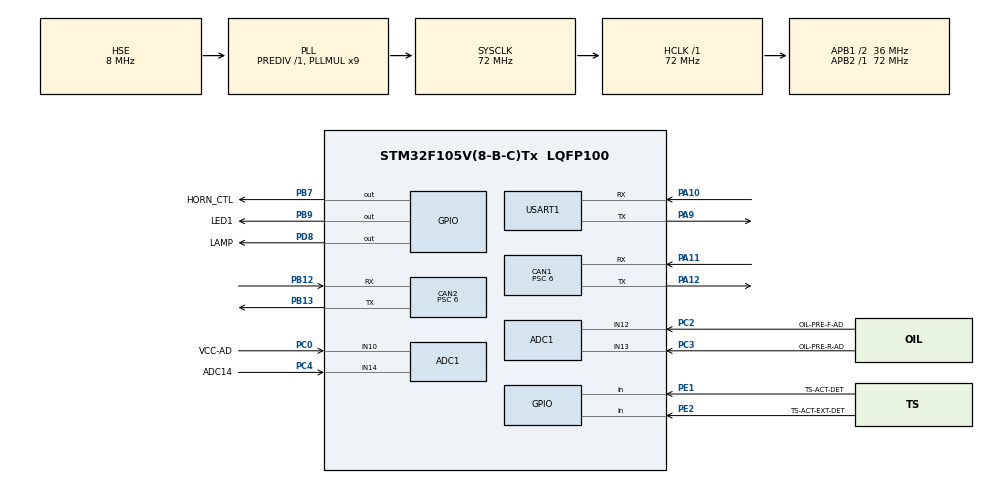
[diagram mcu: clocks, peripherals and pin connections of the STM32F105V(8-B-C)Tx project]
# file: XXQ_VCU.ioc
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ADC1.Channel-0\#ChannelRegularConversion=ADC_CHANNEL_10
ADC1.Channel-1\#ChannelRegularConversion=ADC_CHANNEL_12
ADC1.Channel-2\#ChannelRegularConversion=ADC_CHANNEL_13
ADC1.Channel-3\#ChannelRegularConversion=ADC_CHANNEL_14
ADC1.ContinuousConvMode=ENABLE
ADC1.NbrOfConversion=4
ADC1.NbrOfConversionFlag=1
ADC1.Rank-0\#ChannelRegularConversion=1
ADC1.Rank-1\#ChannelRegularConversion=2
ADC1.Rank-2\#ChannelRegularConversion=3
ADC1.Rank-3\#ChannelRegularConversion=4
ADC1.SamplingTime-0\#ChannelRegularConversion=ADC_SAMPLETIME_28CYCLES_5
ADC1.SamplingTime-1\#ChannelRegularConversion=ADC_SAMPLETIME_28CYCLES_5
ADC1.SamplingTime-2\#ChannelRegularConversion=ADC_SAMPLETIME_28CYCLES_5
ADC1.SamplingTime-3\#ChannelRegularConversion=ADC_SAMPLETIME_28CYCLES_5
ADC1.master=1
CAN1.ABOM=ENABLE
CAN1.AWUM=ENABLE
CAN1.BS1=CAN_BS1_8TQ
CAN1.BS2=CAN_BS2_3TQ
CAN1.CalculateBaudRate=499999
CAN1.CalculateTimeBit=2000
CAN1.CalculateTimeQuantum=166.66666666666669
CAN1.Mode=CAN_MODE_NORMAL
CAN1.Prescaler=6
CAN2.ABOM=ENABLE
CAN2.AWUM=ENABLE
CAN2.BS1=CAN_BS1_8TQ
CAN2.BS2=CAN_BS2_3TQ
CAN2.CalculateBaudRate=499999
CAN2.CalculateTimeBit=2000
CAN2.CalculateTimeQuantum=166.66666666666669
CAN2.Mode=CAN_MODE_NORMAL
CAN2.Prescaler=6
Dma.ADC1.0.Direction=DMA_PERIPH_TO_MEMORY
Dma.ADC1.0.Instance=DMA1_Channel1
Dma.ADC1.0.MemDataAlignment=DMA_MDATAALIGN_HALFWORD
Dma.ADC1.0.MemInc=DMA_MINC_ENABLE
Dma.ADC1.0.Mode=DMA_CIRCULAR
Dma.ADC1.0.PeriphDataAlignment=DMA_PDATAALIGN_HALFWORD
Dma.ADC1.0.PeriphInc=DMA_PINC_DISABLE
Dma.ADC1.0.Priority=DMA_PRIORITY_LOW
Dma.Request0=ADC1
Mcu.Family=STM32F1
Mcu.Name=STM32F105V(8-B-C)Tx
Mcu.Package=LQFP100
Mcu.UserConstants=TIM_PSC,7200-1;TIM_ARR,10-1
NVIC.CAN1_RX0_IRQn=true\:1\:0\:true\:false\:true\:true\:true\:true
NVIC.CAN1_TX_IRQn=true\:0\:0\:true\:false\:true\:true\:true\:true
NVIC.CAN2_RX0_IRQn=true\:1\:0\:true\:false\:true\:true\:true\:true
NVIC.CAN2_TX_IRQn=true\:0\:0\:false\:false\:true\:true\:true\:true
NVIC.DMA1_Channel1_IRQn=true\:0\:0\:false\:false\:true\:false\:true\:true
NVIC.PriorityGroup=NVIC_PRIORITYGROUP_4
NVIC.TIM3_IRQn=true\:3\:0\:true\:false\:true\:true\:true\:true
NVIC.USART1_IRQn=true\:15\:0\:true\:false\:true\:true\:true\:true
OSC_IN.Mode=HSE-External-Oscillator
OSC_IN.Signal=RCC_OSC_IN
OSC_OUT.Mode=HSE-External-Oscillator
OSC_OUT.Signal=RCC_OSC_OUT
PA10.Mode=Asynchronous
PA10.Signal=USART1_RX
PA11.Mode=CAN_Activate
PA11.Signal=CAN1_RX
PA12.Mode=CAN_Activate
PA12.Signal=CAN1_TX
PA13.Mode=Serial_Wire
PA13.Signal=SYS_JTMS-SWDIO
PA14.Mode=Serial_Wire
PA14.Signal=SYS_JTCK-SWCLK
PA9.Mode=Asynchronous
PA9.Signal=USART1_TX
PB12.Mode=CAN_Activate
PB12.Signal=CAN2_RX
PB13.Mode=CAN_Activate
PB13.Signal=CAN2_TX
PB7.GPIO_Label=HORN_CTL
PB7.Signal=GPIO_Output
PB9.GPIO_Label=LED1
PB9.PinState=GPIO_PIN_SET
PB9.Signal=GPIO_Output
PC0.GPIO_Label=VCC-AD
PC0.Signal=ADCx_IN10
PC2.GPIO_Label=OIL-PRE-F-AD
PC2.Signal=ADCx_IN12
PC3.GPIO_Label=OIL-PRE-R-AD
PC3.Signal=ADCx_IN13
PC4.GPIO_Label=ADC14
PC4.Signal=ADCx_IN14
PD8.GPIO_Label=LAMP
PD8.PinState=GPIO_PIN_SET
PD8.Signal=GPIO_Output
PE1.GPIO_Label=TS-ACT-DET
PE1.Signal=GPIO_Input
PE2.GPIO_Label=TS-ACT-EXT-DET
PE2.Signal=GPIO_Input
ProjectManager.HeapSize=0x200
ProjectManager.StackSize=0x400
ProjectManager.TargetToolchain=MDK-ARM V5.32
RCC.ADCPresc=RCC_ADCPCLK2_DIV6
RCC.AHBFreq_Value=72000000
RCC.APB1CLKDivider=RCC_HCLK_DIV2
RCC.APB1Freq_Value=36000000
RCC.APB1TimFreq_Value=72000000
RCC.APB2Freq_Value=72000000
RCC.APB2TimFreq_Value=72000000
RCC.HCLKFreq_Value=72000000
RCC.PLLMUL=RCC_PLL_MUL9
RCC.PLLSourceVirtual=RCC_PLLSOURCE_HSE
RCC.SYSCLKFreq_VALUE=72000000
RCC.SYSCLKSource=RCC_SYSCLKSOURCE_PLLCLK
RCC.USBFreq_Value=48000000
SH.ADCx_IN10.0=ADC1_IN10,IN10
SH.ADCx_IN12.0=ADC1_IN12,IN12
SH.ADCx_IN13.0=ADC1_IN13,IN13
SH.ADCx_IN14.0=ADC1_IN14,IN14
TIM3.Period=TIM_ARR
TIM3.Prescaler=TIM_PSC
USART1.VirtualMode=VM_ASYNC
VP_TIM3_VS_ClockSourceINT.Mode=Internal
board=custom

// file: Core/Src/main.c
/* USER CODE BEGIN Header */
/**
  ******************************************************************************
  * @file           : main.c
  * @brief          : Main program body
  ******************************************************************************
  * @attention
  *
  * Copyright (c) 2026 STMicroelectronics.
  * All rights reserved.
  *
  * This software is licensed under terms that can be found in the LICENSE file
  * in the root directory of this software component.
  * If no LICENSE file comes with this software, it is provided AS-IS.
  *
  ******************************************************************************
  */
/* USER CODE END Header */
#include "main.h"
#include "adc.h"
#include "can.h"
#include "dma.h"
#include "tim.h"
#include "usart.h"
#include "gpio.h"

/* USER CODE BEGIN Includes */
#include "tick.h"
#include "vehicle.h"
#include "dmcu.h"
/* USER CODE END Includes */

void SystemClock_Config(void);

int main(void)
{

  /* MCU Configuration--------------------------------------------------------*/

  /* Reset of all peripherals, Initializes the Flash interface and the Systick. */
  HAL_Init();

  /* Configure the system clock */
  SystemClock_Config();

  /* Initialize all configured peripherals */
  MX_GPIO_Init();
  MX_DMA_Init();
  MX_TIM3_Init();
  MX_ADC1_Init();
  MX_USART1_UART_Init();
  MX_CAN1_Init();
  MX_CAN2_Init();
  /* USER CODE BEGIN 2 */
  tick_init();              /* 启动1ms时基 */
  ADC_StartDMA();           /* 启动ADC DMA连续采样 */
  Vehicle_Init();           /* 整车控制初始化 (执行器置安全状态) */
  CAN_Init();               /* CAN初始化 (滤波器+启动+中断使能) */
  DMCU_Init();              /* 双电机控制初始化 */
  /* USER CODE END 2 */

  /* Infinite loop */
  while (1)
  {

    /* USER CODE BEGIN 3 */
    /* 连续任务: ADC传感器数据处理 */
    ADC_ProcessSensorData(NULL);

    /* ---- 10ms周期: 电机控制指令发送 ---- */
    if (time_flag.bit_field.time_10ms_flag)
    {
        time_flag.bit_field.time_10ms_flag = 0;
        DMCU_SendCurrentCmd();
    }

    /* ---- 100ms周期: 电机状态查询 + VCU状态机 ---- */
    if (time_flag.bit_field.time_100ms_flag)
    {
        time_flag.bit_field.time_100ms_flag = 0;
        DMCU_QuerySpeed();          /* 查询电机转速 */
        DMCU_Heartbeat();           /* 电机心跳维持 */
        Vehicle_StateMachine();     /* VCU状态机更新 */
    }

    /* ---- 200ms周期: 油门信号处理 ---- */
    if (time_flag.bit_field.time_200ms_flag)
    {
        time_flag.bit_field.time_200ms_flag = 0;
        DMCU_ThrottleProcess();     /* 油门扭矩分配计算 */
    }

    /* ---- 500ms周期: LED闪烁 + CAN数据上报 ---- */
    if (time_flag.bit_field.time_500ms_flag)
    {
        time_flag.bit_field.time_500ms_flag = 0;
        Vehicle_LED1_Blink();       /* LED1心跳闪烁 */
        CAN_SendVCUInfo(ADC_GetSensorHandle(), Vehicle_GetVCUState(),
                        Vehicle_GetGearState(), DMCU_GetVehicleSpeed());
        DMCU_SendRPM();             /* 发送电机转速指令 */
    }

    /* ---- 1000ms周期: 档位计时 + 串口传感器打印 ---- */
    if (time_flag.bit_field.time_1000ms_flag)
    {
        time_flag.bit_field.time_1000ms_flag = 0;
        Vehicle_GearTick();         /* 档位蜂鸣器计时 */
        Vehicle_SensorReport();     /* 传感器数据串口打印 */
    }

    /* ---- 连续任务: 档位/制动灯检测 (每次循环执行) ---- */
    Vehicle_GearShiftCheck();       /* 档位切换检测 */
    Vehicle_BrakeLightCheck();      /* 制动灯控制 */
  }
  /* USER CODE END 3 */
}

void SystemClock_Config(void)
{
  RCC_OscInitTypeDef RCC_OscInitStruct = {0};
  RCC_ClkInitTypeDef RCC_ClkInitStruct = {0};
  RCC_PeriphCLKInitTypeDef PeriphClkInit = {0};

  /** Initializes the RCC Oscillators according to the specified parameters
  * in the RCC_OscInitTypeDef structure.
  */
  RCC_OscInitStruct.OscillatorType = RCC_OSCILLATORTYPE_HSE;
  RCC_OscInitStruct.HSEState = RCC_HSE_ON;
  RCC_OscInitStruct.HSEPredivValue = RCC_HSE_PREDIV_DIV1;
  RCC_OscInitStruct.HSIState = RCC_HSI_ON;
  RCC_OscInitStruct.Prediv1Source = RCC_PREDIV1_SOURCE_HSE;
  RCC_OscInitStruct.PLL.PLLState = RCC_PLL_ON;
  RCC_OscInitStruct.PLL.PLLSource = RCC_PLLSOURCE_HSE;
  RCC_OscInitStruct.PLL.PLLMUL = RCC_PLL_MUL9;
  RCC_OscInitStruct.PLL2.PLL2State = RCC_PLL_NONE;
  if (HAL_RCC_OscConfig(&RCC_OscInitStruct) != HAL_OK)
  {
    Error_Handler();
  }

  /** Initializes the CPU, AHB and APB buses clocks
  */
  RCC_ClkInitStruct.ClockType = RCC_CLOCKTYPE_HCLK|RCC_CLOCKTYPE_SYSCLK
                              |RCC_CLOCKTYPE_PCLK1|RCC_CLOCKTYPE_PCLK2;
  RCC_ClkInitStruct.SYSCLKSource = RCC_SYSCLKSOURCE_PLLCLK;
  RCC_ClkInitStruct.AHBCLKDivider = RCC_SYSCLK_DIV1;
  RCC_ClkInitStruct.APB1CLKDivider = RCC_HCLK_DIV2;
  RCC_ClkInitStruct.APB2CLKDivider = RCC_HCLK_DIV1;

  if (HAL_RCC_ClockConfig(&RCC_ClkInitStruct, FLASH_LATENCY_2) != HAL_OK)
  {
    Error_Handler();
  }
  PeriphClkInit.PeriphClockSelection = RCC_PERIPHCLK_ADC;
  PeriphClkInit.AdcClockSelection = RCC_ADCPCLK2_DIV6;
  if (HAL_RCCEx_PeriphCLKConfig(&PeriphClkInit) != HAL_OK)
  {
    Error_Handler();
  }

  /** Configure the Systick interrupt time
  */
  __HAL_RCC_PLLI2S_ENABLE();
}

void Error_Handler(void)
{
  __disable_irq();
  while (1)
  {
  }
}
